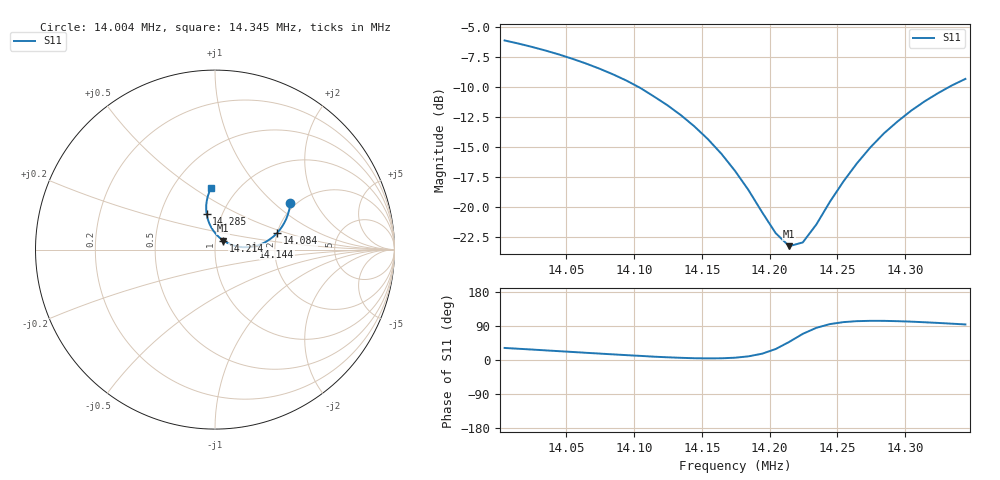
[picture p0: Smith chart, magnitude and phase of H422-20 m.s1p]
# HZ S RI R 50
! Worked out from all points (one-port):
!   35 points, 14.004 MHz to 14.345 MHz, reference 50 ohm
!   lowest |S11| = -23.3 dB at 14.214 MHz (marker M1), VSWR 1.15, Z = 54.5 + j5.56 ohm
!   |S11| at or under -10 dB: 14.103 MHz to 14.333 MHz (229.3 kHz wide, 1.61 % of centre)
!   S11 on the Smith chart (normalised r, x): 14.004 MHz: 1.87, +1.29; 14.084 MHz: 2.00, +0.42; 14.144 MHz: 1.55, +0.06; 14.214 MHz: 1.09, +0.11; 14.285 MHz: 0.85, +0.35; 14.345 MHz: 0.76, +0.59
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1.40044e7  0.4201 0.2606
1.403441e7  0.4054 0.1931
1.405442e7  0.3864 0.15
1.408443e7  0.345 0.0915
1.409444e7  0.3276 0.0745
1.410444e7  0.308 0.0592
1.411444e7  0.2856 0.0442
1.412445e7  0.2635 0.0332
1.413445e7  0.2401 0.0243
1.414446e7  0.2159 0.0176
1.415446e7  0.191 0.0142
1.416446e7  0.1658 0.0131
1.417447e7  0.1405 0.0148
1.418447e7  0.1156 0.0197
1.419448e7  0.091 0.0272
1.420448e7  0.0679 0.0376
1.421448e7  0.0461 0.0507
1.422449e7  0.0255 0.0663
1.423449e7  0.00748 0.084
1.42445e7  -0.00867 0.1045
1.42545e7  -0.0221 0.1256
1.42645e7  -0.0329 0.1483
1.427451e7  -0.041 0.1724
1.428451e7  -0.0466 0.1973
1.430452e7  -0.0489 0.2471
1.431452e7  -0.0458 0.2718
1.432453e7  -0.0405 0.2957
1.434454e7  -0.0227 0.3409
